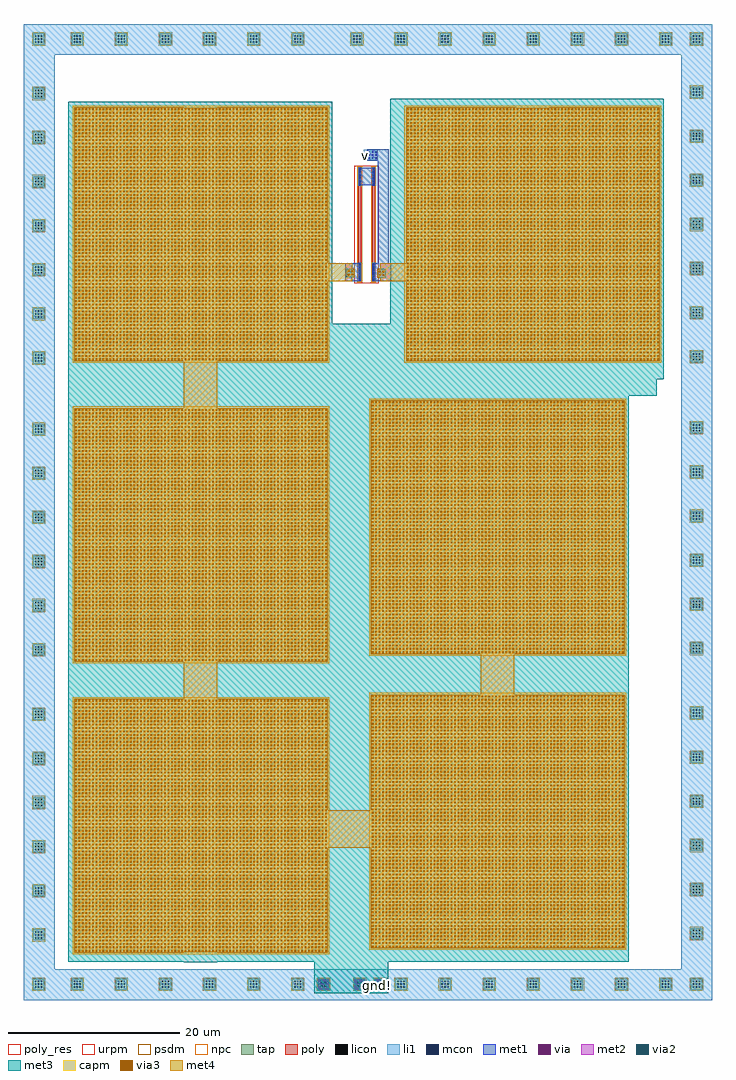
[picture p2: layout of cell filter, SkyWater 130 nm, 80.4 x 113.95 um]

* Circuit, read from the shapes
.subckt filter gnd v
XC1 n1 gnd sky130_fd_pr__cap_mim_m3_1 w=30 l=30 m=5
XC2 v gnd sky130_fd_pr__cap_mim_m3_1 w=30 l=30
XR3 n2 n1 gnd sky130_fd_pr__res_xhigh_po w=0.35 l=9
XR4 n2 v gnd sky130_fd_pr__res_xhigh_po w=0.35 l=9
.ends

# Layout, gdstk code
import gdstk
lib = gdstk.Library(unit=1e-6, precision=1e-09)
def R(c, l, rs):  # rectangles x0, y0, x1, y1
    for r in rs: c.add(gdstk.rectangle(r[:2], r[2:], *l))
def A(c, l, x, y, w, h, nx, ny, dx, dy):  # array of equal rectangles
    R(c, l, [(x+i*dx, y+j*dy, x+i*dx+w, y+j*dy+h) for i in range(nx) for j in range(ny)])
tap = (65, 44)
poly_res = (66, 13)
poly = (66, 20)
licon = (66, 44)
li1 = (67, 20)
mcon = (67, 44)
met1 = (68, 20)
via = (68, 44)
met2 = (69, 20)
via2 = (69, 44)
met3 = (70, 20)
via3 = (70, 44)
met4 = (71, 20)
urpm = (79, 20)
capm = (89, 44)
psdm = (94, 20)
npc = (95, 20)

filter = lib.new_cell('filter')
A(filter, tap, -12.4, -108.85, 1.3, 1.3, 6, 2, 5.15, 110.35)
A(filter, tap, 20.6, -108.85, 1.3, 1.3, 3, 1, 2.4, 0)
A(filter, tap, 30.55, -108.85, 1.3, 1.3, 6, 1, 5.15, 0)
A(filter, tap, -16.9, -103.1, 1.3, 1.3, 1, 6, 0, 5.15)
A(filter, tap, 59.9, -102.95, 1.3, 1.3, 1, 6, 0, 5.15)
A(filter, tap, -16.9, -69.8, 1.3, 1.3, 1, 6, 0, 5.15)
A(filter, tap, 59.9, -69.65, 1.3, 1.3, 1, 6, 0, 5.15)
A(filter, tap, -16.9, -35.75, 1.3, 1.3, 1, 7, 0, 5.15)
A(filter, tap, 59.9, -35.6, 1.3, 1.3, 1, 7, 0, 5.15)
A(filter, tap, 20.25, 1.5, 1.3, 1.3, 8, 1, 5.15, 0)
R(filter, tap, [(-16.9,-108.85,-15.6,-107.55), (16.35,-108.85,17.65,-107.55), (59.9,-108.85,61.2,-107.55), (-16.9,1.5,-15.6,2.8), (59.9,1.5,61.2,2.8)])
R(filter, poly_res, [(21.08,-24.05,21.43,-14.93), (22.67,-24.05,23.02,-14.93)])
R(filter, poly, [(21.08,-26.15,21.43,-12.83), (22.67,-26.15,23.02,-12.83)])
A(filter, licon, -16.675, -108.625, 0.17, 0.17, 3, 3, 0.34, 0.34)
A(filter, licon, -12.175, -108.625, 0.17, 0.17, 3, 3, 0.34, 0.34)
A(filter, licon, -7.025, -108.625, 0.17, 0.17, 3, 3, 0.34, 0.34)
A(filter, licon, -1.875, -108.625, 0.17, 0.17, 3, 3, 0.34, 0.34)
A(filter, licon, 3.275, -108.625, 0.17, 0.17, 3, 3, 0.34, 0.34)
A(filter, licon, 8.425, -108.625, 0.17, 0.17, 3, 3, 0.34, 0.34)
A(filter, licon, 13.575, -108.625, 0.17, 0.17, 3, 3, 0.34, 0.34)
A(filter, licon, 16.575, -108.625, 0.17, 0.17, 3, 3, 0.34, 0.34)
A(filter, licon, 20.825, -108.625, 0.17, 0.17, 3, 3, 0.34, 0.34)
A(filter, licon, 23.225, -108.625, 0.17, 0.17, 3, 3, 0.34, 0.34)
A(filter, licon, 25.625, -108.625, 0.17, 0.17, 3, 3, 0.34, 0.34)
A(filter, licon, 30.775, -108.625, 0.17, 0.17, 3, 3, 0.34, 0.34)
A(filter, licon, 35.925, -108.625, 0.17, 0.17, 3, 3, 0.34, 0.34)
A(filter, licon, 41.075, -108.625, 0.17, 0.17, 3, 3, 0.34, 0.34)
A(filter, licon, 46.225, -108.625, 0.17, 0.17, 3, 3, 0.34, 0.34)
A(filter, licon, 51.375, -108.625, 0.17, 0.17, 3, 3, 0.34, 0.34)
A(filter, licon, 56.525, -108.625, 0.17, 0.17, 3, 3, 0.34, 0.34)
A(filter, licon, 60.125, -108.625, 0.17, 0.17, 3, 3, 0.34, 0.34)
A(filter, licon, -16.675, -102.875, 0.17, 0.17, 3, 3, 0.34, 0.34)
A(filter, licon, 60.125, -102.725, 0.17, 0.17, 3, 3, 0.34, 0.34)
A(filter, licon, -16.675, -97.725, 0.17, 0.17, 3, 3, 0.34, 0.34)
A(filter, licon, 60.125, -97.575, 0.17, 0.17, 3, 3, 0.34, 0.34)
A(filter, licon, -16.675, -92.575, 0.17, 0.17, 3, 3, 0.34, 0.34)
A(filter, licon, 60.125, -92.425, 0.17, 0.17, 3, 3, 0.34, 0.34)
A(filter, licon, -16.675, -87.425, 0.17, 0.17, 3, 3, 0.34, 0.34)
A(filter, licon, 60.125, -87.275, 0.17, 0.17, 3, 3, 0.34, 0.34)
A(filter, licon, -16.675, -82.275, 0.17, 0.17, 3, 3, 0.34, 0.34)
A(filter, licon, 60.125, -82.125, 0.17, 0.17, 3, 3, 0.34, 0.34)
A(filter, licon, -16.675, -77.125, 0.17, 0.17, 3, 3, 0.34, 0.34)
A(filter, licon, 60.125, -76.975, 0.17, 0.17, 3, 3, 0.34, 0.34)
A(filter, licon, -16.675, -69.575, 0.17, 0.17, 3, 3, 0.34, 0.34)
A(filter, licon, 60.125, -69.425, 0.17, 0.17, 3, 3, 0.34, 0.34)
A(filter, licon, -16.675, -64.425, 0.17, 0.17, 3, 3, 0.34, 0.34)
A(filter, licon, 60.125, -64.275, 0.17, 0.17, 3, 3, 0.34, 0.34)
A(filter, licon, -16.675, -59.275, 0.17, 0.17, 3, 3, 0.34, 0.34)
A(filter, licon, 60.125, -59.125, 0.17, 0.17, 3, 3, 0.34, 0.34)
A(filter, licon, -16.675, -54.125, 0.17, 0.17, 3, 3, 0.34, 0.34)
A(filter, licon, 60.125, -53.975, 0.17, 0.17, 3, 3, 0.34, 0.34)
A(filter, licon, -16.675, -48.975, 0.17, 0.17, 3, 3, 0.34, 0.34)
A(filter, licon, 60.125, -48.825, 0.17, 0.17, 3, 3, 0.34, 0.34)
A(filter, licon, -16.675, -43.825, 0.17, 0.17, 3, 3, 0.34, 0.34)
A(filter, licon, 60.125, -43.675, 0.17, 0.17, 3, 3, 0.34, 0.34)
A(filter, licon, -16.675, -35.525, 0.17, 0.17, 3, 3, 0.34, 0.34)
A(filter, licon, 60.125, -35.375, 0.17, 0.17, 3, 3, 0.34, 0.34)
A(filter, licon, -16.675, -30.375, 0.17, 0.17, 3, 3, 0.34, 0.34)
A(filter, licon, 60.125, -30.225, 0.17, 0.17, 3, 3, 0.34, 0.34)
A(filter, licon, -16.675, -25.225, 0.17, 0.17, 3, 3, 0.34, 0.34)
A(filter, licon, 60.125, -25.075, 0.17, 0.17, 3, 3, 0.34, 0.34)
A(filter, licon, -16.675, -20.075, 0.17, 0.17, 3, 3, 0.34, 0.34)
A(filter, licon, 60.125, -19.925, 0.17, 0.17, 3, 3, 0.34, 0.34)
A(filter, licon, -16.675, -14.925, 0.17, 0.17, 3, 3, 0.34, 0.34)
A(filter, licon, 60.125, -14.775, 0.17, 0.17, 3, 3, 0.34, 0.34)
A(filter, licon, -16.675, -9.775, 0.17, 0.17, 3, 3, 0.34, 0.34)
A(filter, licon, 60.125, -9.625, 0.17, 0.17, 3, 3, 0.34, 0.34)
A(filter, licon, -16.675, -4.625, 0.17, 0.17, 3, 3, 0.34, 0.34)
A(filter, licon, 60.125, -4.475, 0.17, 0.17, 3, 3, 0.34, 0.34)
A(filter, licon, -16.675, 1.725, 0.17, 0.17, 3, 3, 0.34, 0.34)
A(filter, licon, -12.175, 1.725, 0.17, 0.17, 3, 3, 0.34, 0.34)
A(filter, licon, -7.025, 1.725, 0.17, 0.17, 3, 3, 0.34, 0.34)
A(filter, licon, -1.875, 1.725, 0.17, 0.17, 3, 3, 0.34, 0.34)
A(filter, licon, 3.275, 1.725, 0.17, 0.17, 3, 3, 0.34, 0.34)
A(filter, licon, 8.425, 1.725, 0.17, 0.17, 3, 3, 0.34, 0.34)
A(filter, licon, 13.575, 1.725, 0.17, 0.17, 3, 3, 0.34, 0.34)
A(filter, licon, 20.475, 1.725, 0.17, 0.17, 3, 3, 0.34, 0.34)
A(filter, licon, 25.625, 1.725, 0.17, 0.17, 3, 3, 0.34, 0.34)
A(filter, licon, 30.775, 1.725, 0.17, 0.17, 3, 3, 0.34, 0.34)
A(filter, licon, 35.925, 1.725, 0.17, 0.17, 3, 3, 0.34, 0.34)
A(filter, licon, 41.075, 1.725, 0.17, 0.17, 3, 3, 0.34, 0.34)
A(filter, licon, 46.225, 1.725, 0.17, 0.17, 3, 3, 0.34, 0.34)
A(filter, licon, 51.375, 1.725, 0.17, 0.17, 3, 3, 0.34, 0.34)
A(filter, licon, 56.525, 1.725, 0.17, 0.17, 3, 3, 0.34, 0.34)
A(filter, licon, 60.125, 1.725, 0.17, 0.17, 3, 3, 0.34, 0.34)
R(filter, licon, [(21.16,-26.07,21.35,-24.07), (22.75,-26.07,22.94,-24.07), (21.16,-14.91,21.35,-12.91), (22.75,-14.91,22.94,-12.91)])
R(filter, li1, [(-18,-110.05,62.4,-106.45), (-18,-106.45,-14.4,0.3), (58.8,-106.45,62.4,0.3), (21.08,-26.15,21.43,-23.99), (22.67,-26.15,23.02,-23.99), (21.08,-14.99,21.43,-12.83), (22.67,-14.99,23.02,-12.83), (21.7,-12,23.35,-10.8), (-18,0.3,62.4,3.9)])
A(filter, mcon, 16.555, -108.645, 0.17, 0.17, 3, 3, 0.36, 0.36)
A(filter, mcon, 20.805, -108.645, 0.17, 0.17, 3, 3, 0.36, 0.36)
A(filter, mcon, 23.205, -108.645, 0.17, 0.17, 3, 3, 0.36, 0.36)
A(filter, mcon, 21.17, -26.055, 0.17, 0.17, 1, 6, 0, 0.36)
A(filter, mcon, 22.76, -26.055, 0.17, 0.17, 1, 6, 0, 0.36)
A(filter, mcon, 21.17, -14.9, 0.17, 0.17, 1, 6, 0, 0.36)
A(filter, mcon, 22.76, -14.9, 0.17, 0.17, 1, 6, 0, 0.36)
A(filter, mcon, 22.305, -11.845, 0.17, 0.17, 3, 3, 0.36, 0.36)
R(filter, met1, [(16.4,-108.8,17.6,-107.6), (20.65,-108.8,21.85,-107.6), (23.05,-108.8,24.25,-107.6), (19.55,-26.15,21.2,-26.12), (22.9,-26.15,24.9,-26.12), (19.55,-26.12,21.38,-24.05), (22.72,-26.12,24.9,-24.05), (21.05,-24.05,21.38,-24.015), (22.72,-24.05,22.97,-24.015), (23.35,-24.05,24.6,-12.05), (21.05,-24.015,21.2,-24), (21.13,-14.965,21.38,-14.95), (22.72,-14.965,22.97,-14.95), (21.13,-14.95,22.97,-12.9), (21.13,-12.9,21.38,-12.86), (22.72,-12.9,22.97,-12.86), (22.1,-12.05,24.6,-10.75)])
A(filter, via, 16.605, -108.595, 0.15, 0.15, 3, 3, 0.32, 0.32)
A(filter, via, 20.855, -108.595, 0.15, 0.15, 3, 3, 0.32, 0.32)
A(filter, via, 23.255, -108.595, 0.15, 0.15, 3, 3, 0.32, 0.32)
R(filter, via, [(23.565,-25.435,23.715,-25.285), (23.885,-25.435,24.035,-25.285), (19.915,-25.385,20.065,-25.235), (20.235,-25.385,20.385,-25.235), (23.565,-25.115,23.715,-24.965), (23.885,-25.115,24.035,-24.965), (19.915,-25.065,20.065,-24.915), (20.235,-25.065,20.385,-24.915)])
R(filter, met2, [(16.4,-108.8,17.6,-107.6), (20.65,-108.8,21.85,-107.6), (23.05,-108.8,24.25,-107.6), (23.3,-25.7,24.3,-24.7), (19.65,-25.65,20.65,-24.65)])
R(filter, via2, [(16.7,-108.5,16.9,-108.3), (17.1,-108.5,17.3,-108.3), (20.95,-108.5,21.15,-108.3), (21.35,-108.5,21.55,-108.3), (23.35,-108.5,23.55,-108.3), (23.75,-108.5,23.95,-108.3), (16.7,-108.1,16.9,-107.9), (17.1,-108.1,17.3,-107.9), (20.95,-108.1,21.15,-107.9), (21.35,-108.1,21.55,-107.9), (23.35,-108.1,23.55,-107.9), (23.75,-108.1,23.95,-107.9), (23.5,-25.5,23.7,-25.3), (23.9,-25.5,24.1,-25.3), (19.85,-25.45,20.05,-25.25), (20.25,-25.45,20.45,-25.25), (23.5,-25.1,23.7,-24.9), (23.9,-25.1,24.1,-24.9), (19.85,-25.05,20.05,-24.85), (20.25,-25.05,20.45,-24.85)])
R(filter, met3, [(15.95,-109.25,24.55,-105.6), (0.7,-105.65,4.6,-105.6), (-12.8,-105.6,52.65,-39.5), (-12.8,-39.5,55.9,-37.6), (-12.8,-37.6,56.75,-31.1), (-12.8,-31.1,18,-5.15), (24.8,-31.1,56.75,-4.85), (23.3,-25.7,24.3,-24.7), (19.65,-25.65,20.65,-24.65)])
A(filter, via3, -12, -104.4, 0.2, 0.2, 74, 74, 0.4, 0.4)
A(filter, via3, 22.65, -103.9, 0.2, 0.2, 74, 74, 0.4, 0.4)
A(filter, via3, -12, -70.45, 0.2, 0.2, 74, 74, 0.4, 0.4)
A(filter, via3, 22.65, -69.55, 0.2, 0.2, 74, 74, 0.4, 0.4)
A(filter, via3, -12, -35.35, 0.2, 0.2, 74, 74, 0.4, 0.4)
A(filter, via3, 26.75, -35.35, 0.2, 0.2, 74, 74, 0.4, 0.4)
R(filter, via3, [(23.5,-25.5,23.7,-25.3), (23.9,-25.5,24.1,-25.3), (19.85,-25.45,20.05,-25.25), (20.25,-25.45,20.45,-25.25), (23.5,-25.1,23.7,-24.9), (23.9,-25.1,24.1,-24.9), (19.85,-25.05,20.05,-24.85), (20.25,-25.05,20.45,-24.85)])
R(filter, met4, [(-12.105,-104.505,0.7,-104.5), (4.6,-104.505,17.505,-104.5), (-12.105,-104.5,17.505,-92.25), (22.545,-104.005,35.35,-104), (39.3,-104.005,52.155,-104), (22.545,-104,52.155,-92.25), (-12.105,-92.25,52.155,-87.9), (-12.105,-87.9,17.505,-74.895), (22.545,-87.9,52.155,-74.395), (0.7,-74.895,4.6,-70.555), (35.35,-74.395,39.25,-69.655), (-12.105,-70.555,17.505,-40.945), (22.545,-69.655,52.155,-40.05), (0.7,-40.945,4.6,-35.455), (22.545,-40.05,35.35,-40.045), (39.25,-40.05,52.155,-40.045), (-12.105,-35.455,17.505,-26.15), (26.645,-35.455,39.45,-35.45), (43.35,-35.455,56.255,-35.45), (26.645,-35.45,56.255,-26.15), (-12.105,-26.15,20.35,-25.65), (23.65,-26.15,56.255,-25.7), (23.3,-25.7,56.255,-24.7), (-12.105,-25.65,20.65,-24.65), (23.65,-24.7,56.255,-24.05), (-12.105,-24.65,20.35,-24.05), (-12.105,-24.05,17.505,-5.85), (26.645,-24.05,56.255,-5.85), (-12.105,-5.85,0.7,-5.845), (4.6,-5.85,17.505,-5.845), (26.645,-5.85,39.45,-5.845), (43.35,-5.85,56.255,-5.845)])
R(filter, urpm, [(20.62,-26.35,23.48,-12.63)])
R(filter, capm, [(-12.3,-104.7,17.7,-74.7), (22.35,-104.2,52.35,-74.2), (-12.3,-70.75,17.7,-40.75), (22.35,-69.85,52.35,-39.85), (-12.3,-35.65,17.7,-5.65), (26.45,-35.65,56.45,-5.65)])
A(filter, psdm, -12.525, -108.975, 1.55, 1.55, 6, 2, 5.15, 110.35)
A(filter, psdm, 20.475, -108.975, 1.55, 1.55, 3, 1, 2.4, 0)
A(filter, psdm, 30.425, -108.975, 1.55, 1.55, 6, 1, 5.15, 0)
A(filter, psdm, -17.025, -103.225, 1.55, 1.55, 1, 6, 0, 5.15)
A(filter, psdm, 59.775, -103.075, 1.55, 1.55, 1, 6, 0, 5.15)
A(filter, psdm, -17.025, -69.925, 1.55, 1.55, 1, 6, 0, 5.15)
A(filter, psdm, 59.775, -69.775, 1.55, 1.55, 1, 6, 0, 5.15)
A(filter, psdm, -17.025, -35.875, 1.55, 1.55, 1, 7, 0, 5.15)
A(filter, psdm, 59.775, -35.725, 1.55, 1.55, 1, 7, 0, 5.15)
A(filter, psdm, 20.125, 1.375, 1.55, 1.55, 8, 1, 5.15, 0)
R(filter, psdm, [(-17.025,-108.975,-15.475,-107.425), (16.225,-108.975,17.775,-107.425), (59.775,-108.975,61.325,-107.425), (20.97,-26.26,21.54,-12.72), (22.56,-26.26,23.13,-12.72), (-17.025,1.375,-15.475,2.925), (59.775,1.375,61.325,2.925)])
R(filter, npc, [(20.985,-26.245,21.525,-12.735), (22.575,-26.245,23.115,-12.735)])
filter.add(gdstk.Label('gnd!', (23.3,-108.4), layer=67, texttype=5))
filter.add(gdstk.Label('gnd', (23.3,-108.4), layer=67, texttype=5))
filter.add(gdstk.Label('v', (21.85,-11.4), layer=67, texttype=5))

lib.write_gds('filter.gds')
